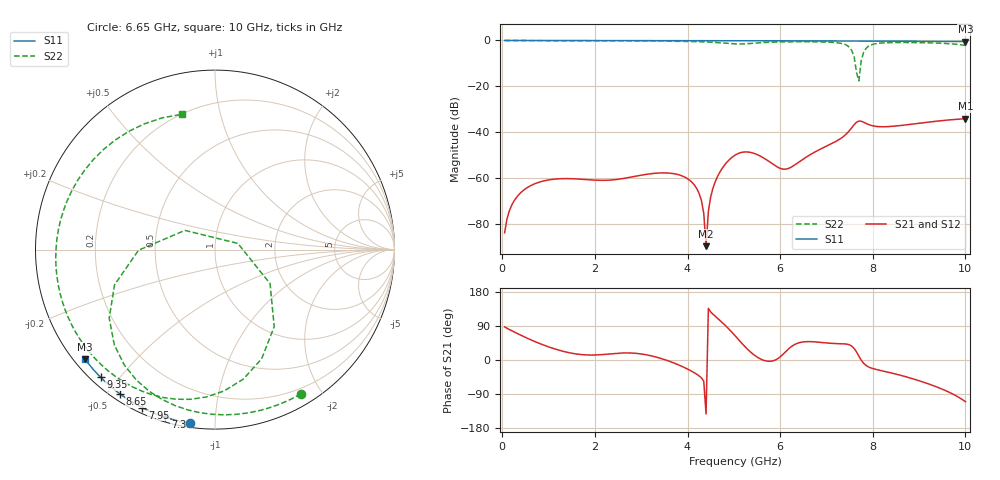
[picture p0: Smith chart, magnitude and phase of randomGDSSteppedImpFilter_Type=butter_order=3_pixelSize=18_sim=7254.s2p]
! freq	dB(S11)	phase(S11)	dB(S12)	phase(S12)
!  dB(S21)	phase(S21)	dB(S22)	phase(S22)
!S-par simulation data
#  GHz  S  DB  R 50
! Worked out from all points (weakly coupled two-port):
!   200 points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, 50 MHz to 10 GHz, reference 50 ohm
!   highest |S21| = -34.08 dB at 10 GHz (marker M1); lowest = -89.7 dB at 4.4 GHz (marker M2)
!   lowest |S11| = -0.5 dB at 10 GHz (marker M3), VSWR 36.78, Z = 1.54 - j18.3 ohm
!   |S11| at or under -10 dB: nowhere
!   |S22| runs from -17.6 to 0.0 dB; largest |S21 - S12| = 0
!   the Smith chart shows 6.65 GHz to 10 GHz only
!   S11 on the Smith chart (normalised r, x): 6.65 GHz: 0.02, -0.87; 7.3 GHz: 0.02, -0.75; 7.95 GHz: 0.02, -0.64; 8.65 GHz: 0.02, -0.54; 9.35 GHz: 0.03, -0.45; 10 GHz: 0.03, -0.37
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0.05  -0.00 -0.8  -83.84 87.4  -83.84 87.4  -0.01 -5.6
0.8  -0.02 -12.9  -61.75 43.8  -61.75 43.8  -0.10 -82.8
1.75  -0.04 -28.0  -60.55 13.9  -60.55 13.9  -0.15 -159.4
2.5  -0.05 -39.6  -60.51 17.9  -60.51 17.9  -0.19 148.8
3.4  -0.07 -53.2  -57.76 5.1  -57.76 5.1  -0.28 82.2
4.1  -0.09 -63.4  -61.91 -30.4  -61.91 -30.4  -0.47 15.1
4.4  -0.10 -67.7  -89.67 -142.4  -89.67 -142.4  -0.66 -23.4
4.75  -0.11 -72.6  -55.71 98.9  -55.71 98.9  -1.09 -85.2
5.05  -0.12 -76.8  -49.72 60.8  -49.72 60.8  -1.50 -161.7
5.5  -0.13 -83.0  -49.72 8.0  -49.72 8.0  -1.10 79.4
5.95  -0.15 -89.0  -55.28 3.7  -55.28 3.7  -0.67 7.6
6.65  -0.19 -98.2  -49.78 48.5  -49.78 48.5  -0.58 -59.2
6.7  -0.19 -98.9  -49.19 48.3  -49.19 48.3  -0.59 -63.2
7.3  -0.23 -106.6  -42.84 42.9  -42.84 42.9  -1.21 -114.9
7.5  -0.24 -109.1  -39.21 39.9  -39.21 39.9  -3.07 -147.0
7.65  -0.25 -111.0  -35.65 20.9  -35.65 20.9  -14.03 147.4
7.75  -0.26 -112.2  -35.19 -0.3  -35.19 -0.3  -8.87 -31.6
7.95  -0.27 -114.7  -36.94 -20.5  -36.94 -20.5  -2.06 -86.3
8.35  -0.31 -119.7  -37.54 -32.7  -37.54 -32.7  -0.95 -124.7
8.65  -0.33 -123.3  -36.97 -42.0  -36.97 -42.0  -0.89 -143.6
9.35  -0.40 -131.9  -35.25 -69.6  -35.25 -69.6  -1.11 173.2
10  -0.47 -139.8  -34.08 -110.0  -34.08 -110.0  -2.20 103.7
